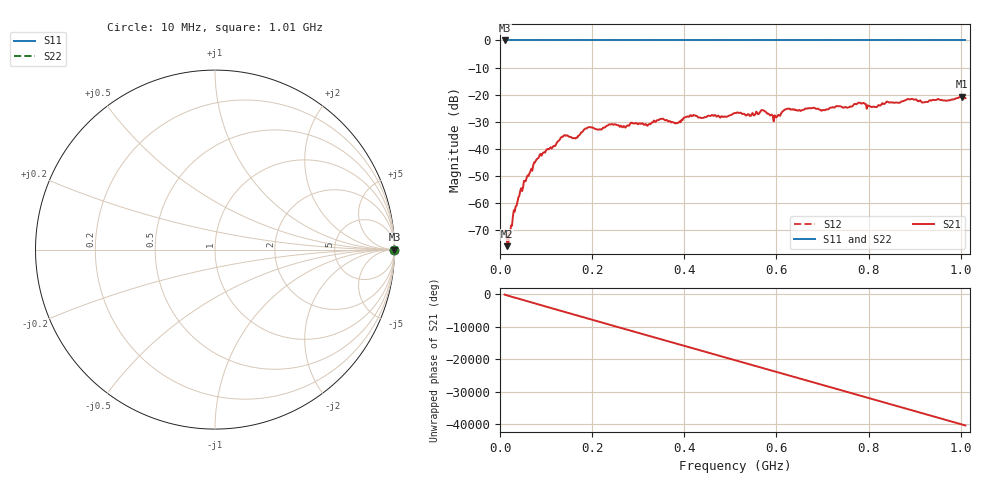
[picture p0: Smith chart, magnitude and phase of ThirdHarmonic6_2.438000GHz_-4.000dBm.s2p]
! 8/17/2025 4:16:07 AM
! C:\ANRITSUVNA\TEMP\TEMP.S2P
! CHANNEL.1
! TR.MEASUREMENT
! RAW.DATA
! RF.CORRECTION.OFF
! AVERAGING.OFF
! IF.BANDWIDTH: 5KHZ
! SWEEPTYPE:  FREQ.SWEEP(Linear)
! Reference Plane Port Info
! PORT:  PORT1  PORT2
! DISTANCE:  0  m  0  m
! TIME:  0  s  0  s
! PHASE.OFFSET:  0  deg.  0  deg.
! LOSS:  0  dB  0  dB
! REF.LOSS:  0  dB  0  dB
! REF.FREQ:  0  Hz  0  Hz
! Power Info
! POWER:  -20  dBm  -20  dBm
! EFF.POWER:  -20  dBm  -20  dBm
! SOURCE.ATTEN:  0  dB  0  dB
! TEST.ATTEN:  0  dB  0  dB
# GHZ S RI R 50.0
! FREQ.GHZ  S11RE  S11IM  S21RE  S21IM  S12RE  S12IM  S22RE  S22IM
!; PortSelection: Port_12
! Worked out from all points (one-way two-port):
!   501 points, 10 MHz to 1.01 GHz, reference 50 ohm
!   highest |S21| = -20.75 dB at 1.002 GHz (marker M1); lowest = -76.1 dB at 16 MHz (marker M2)
!   lowest |S11| = 0.0 dB at 10 MHz (marker M3)
!   |S11| at or under -10 dB: nowhere
!   |S22| runs from 0.0 to 0.0 dB; largest |S21 - S12| = 1.1
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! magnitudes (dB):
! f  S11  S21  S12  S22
! 10 MHz  0.0  -70.3  0.0  0.0
! 16 MHz  0.0  -76.1  0.0  0.0
! 20 MHz  0.0  -71.1  0.0  0.0
! 32 MHz  0.0  -63.3  0.0  0.0
! 42 MHz  0.0  -57.4  0.0  0.0
! 78 MHz  0.0  -44.3  0.0  0.0
! 136 MHz  0.0  -35.7  0.0  0.0
! 164 MHz  0.0  -36.2  0.0  0.0
! 178 MHz  0.0  -33.9  0.0  0.0
! 344 MHz  0.0  -29.5  0.0  0.0
! 384 MHz  0.0  -30.6  0.0  0.0
! 416 MHz  0.0  -28.0  0.0  0.0
! 510 MHz  0.0  -26.8  0.0  0.0
! 570 MHz  0.0  -25.7  0.0  0.0
! 598 MHz  0.0  -28.3  0.0  0.0
! 622 MHz  0.0  -25.3  0.0  0.0
! 678 MHz  0.0  -25.0  0.0  0.0
! 780 MHz  0.0  -23.0  0.0  0.0
! 814 MHz  0.0  -24.6  0.0  0.0
! 844 MHz  0.0  -22.9  0.0  0.0
! 1.002 GHz  0.0  -20.7  0.0  0.0
! 1.01 GHz  0.0  -21.3  0.0  0.0
